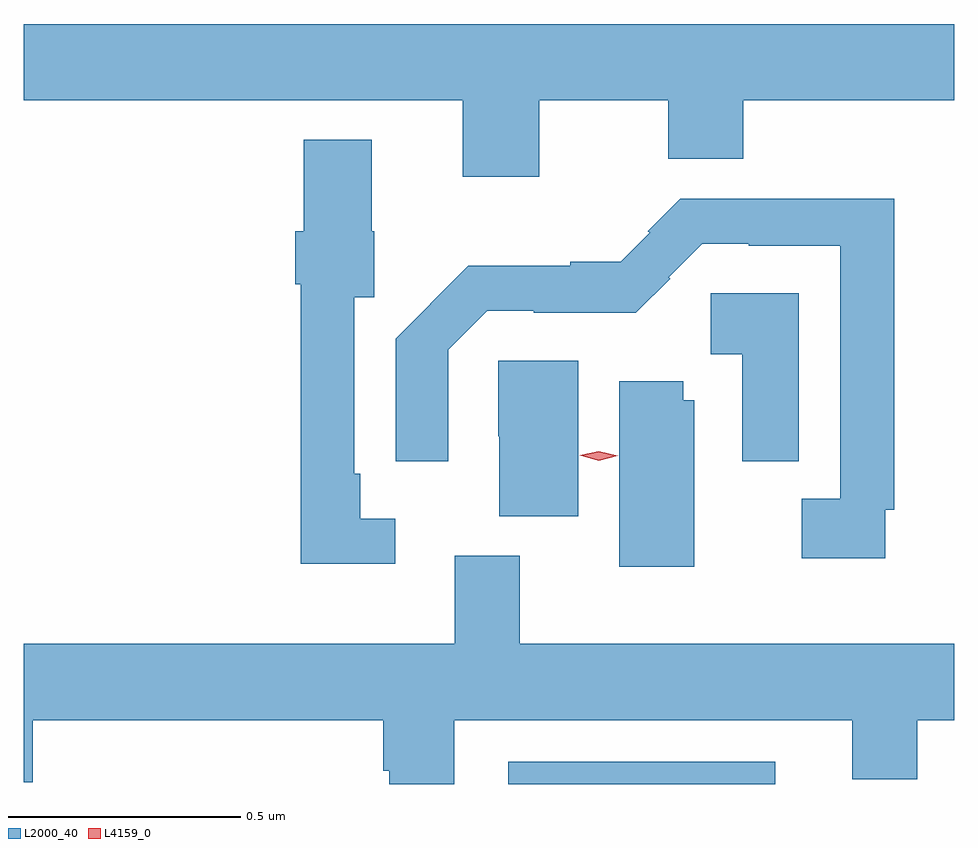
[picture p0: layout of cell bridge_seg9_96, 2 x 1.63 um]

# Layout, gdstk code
import gdstk
lib = gdstk.Library(unit=1e-6, precision=1e-09)
def R(c, l, rs):  # rectangles x0, y0, x1, y1
    for r in rs: c.add(gdstk.rectangle(r[:2], r[2:], *l))
def P(c, l, *ps):  # polygons
    for p in ps: c.add(gdstk.Polygon(p, *l))
L2000_40 = (2000, 40)
L4159_0 = (4159, 0)

bridge_seg9_96 = lib.new_cell('bridge_seg9_96')
R(bridge_seg9_96, L2000_40, [(658.407,1205.607,658.981,1205.655)])
P(bridge_seg9_96, L2000_40, [(658.474,1207.076),(658.751,1207.076),(658.751,1206.95),(658.912,1206.95),(658.912,1207.076),(659.366,1207.076),(659.366,1207.24),(657.366,1207.24),(657.366,1207.076),(658.31,1207.076),(658.31,1206.912),(658.474,1206.912)],
  [(658.165,1206.177),(658.089,1206.177),(658.089,1206.274),(658.077,1206.274),(658.077,1206.653),(658.119,1206.653),(658.119,1206.795),(658.114,1206.795),(658.114,1206.991),(657.968,1206.991),(657.968,1206.795),(657.95,1206.795),(657.95,1206.681),(657.961,1206.681),(657.961,1206.08),(658.165,1206.08)],
  [(659.217,1206.196),(659.237,1206.196),(659.237,1206.865),(658.777,1206.865),(658.707,1206.795),(658.711,1206.791),(658.649,1206.729),(658.541,1206.729),(658.541,1206.721),(658.321,1206.721),(658.24,1206.639),(658.24,1206.638),(658.166,1206.564),(658.166,1206.3),(658.278,1206.3),(658.278,1206.54),(658.362,1206.624),(658.462,1206.624),(658.462,1206.62),(658.681,1206.62),(658.755,1206.693),(658.752,1206.696),(658.824,1206.768),(658.924,1206.768),(658.924,1206.764),(659.121,1206.764),(659.121,1206.22),(659.038,1206.22),(659.038,1206.092),(659.217,1206.092)],
  [(659.032,1206.662),(658.842,1206.662),(658.842,1206.53),(658.91,1206.53),(658.91,1206.301),(659.032,1206.301)],
  [(658.558,1206.516),(658.386,1206.516),(658.386,1206.354),(658.388,1206.354),(658.388,1206.182),(658.558,1206.182)],
  [(658.807,1206.432),(658.783,1206.432),(658.783,1206.472),(658.646,1206.472),(658.646,1206.074),(658.807,1206.074)],
  [(658.291,1205.744),(659.147,1205.744),(659.147,1205.617),(659.286,1205.617),(659.286,1205.744),(659.366,1205.744),(659.366,1205.908),(658.432,1205.908),(658.432,1206.097),(658.292,1206.097),(658.292,1205.908),(657.366,1205.908),(657.366,1205.611),(657.386,1205.611),(657.386,1205.744),(658.139,1205.744),(658.139,1205.635),(658.152,1205.635),(658.152,1205.607),(658.291,1205.607)])
P(bridge_seg9_96, L4159_0, [(658.602,1206.302),(658.561,1206.313),(658.561,1206.313),(658.561,1206.313),(658.602,1206.322),(658.643,1206.312),(658.643,1206.312),(658.643,1206.312)])

lib.write_gds('bridge_seg9_96.gds')
